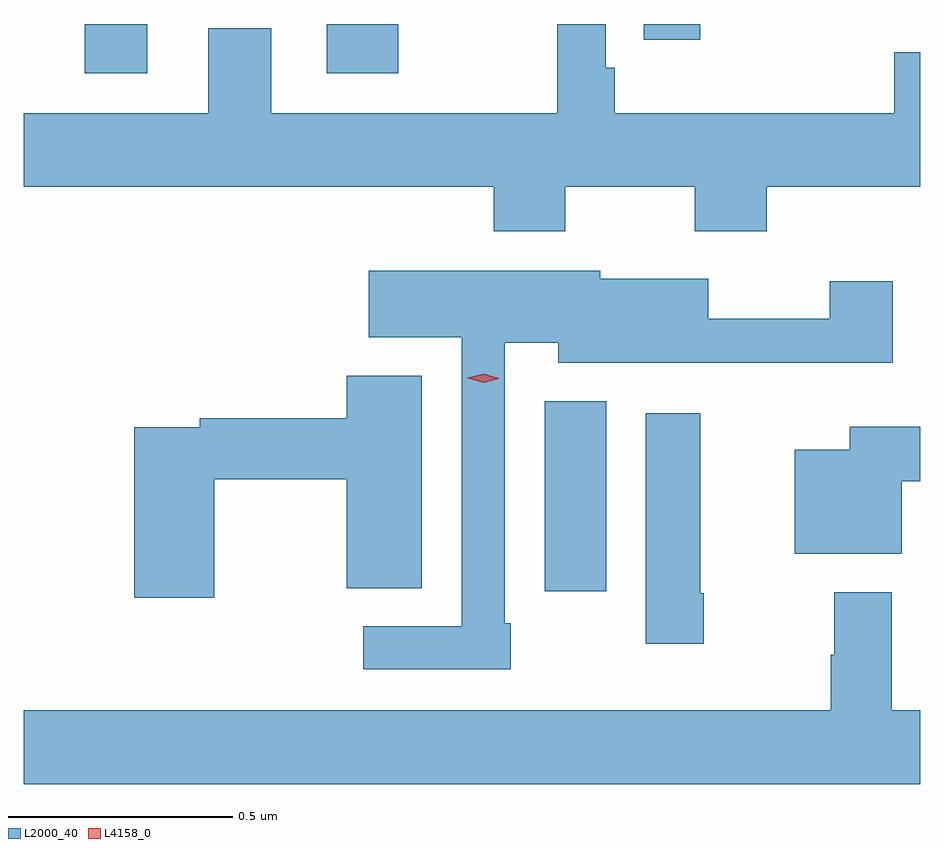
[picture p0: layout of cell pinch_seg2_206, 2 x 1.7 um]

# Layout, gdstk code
import gdstk
lib = gdstk.Library(unit=1e-6, precision=1e-09)
def R(c, l, rs):  # rectangles x0, y0, x1, y1
    for r in rs: c.add(gdstk.rectangle(r[:2], r[2:], *l))
def P(c, l, *ps):  # polygons
    for p in ps: c.add(gdstk.Polygon(p, *l))
L2000_40 = (2000, 40)
L4158_0 = (4158, 0)

pinch_seg2_206 = lib.new_cell('pinch_seg2_206')
R(pinch_seg2_206, L2000_40, [(984.317,661.386,984.454,661.81), (983.291,662.541,983.431,662.651), (983.831,662.541,983.991,662.651), (984.538,662.616,984.664,662.651)])
P(pinch_seg2_206, L2000_40, [(984.363,662.288),(984.652,662.288),(984.652,662.189),(984.812,662.189),(984.812,662.288),(985.155,662.288),(985.155,662.588),(985.097,662.588),(985.097,662.452),(984.473,662.452),(984.473,662.553),(984.453,662.553),(984.453,662.651),(984.345,662.651),(984.345,662.452),(983.707,662.452),(983.707,662.642),(983.567,662.642),(983.567,662.452),(983.155,662.452),(983.155,662.288),(984.203,662.288),(984.203,662.189),(984.363,662.189)],
  [(984.241,661.315),(984.228,661.315),(984.228,661.94),(984.347,661.94),(984.347,661.895),(985.093,661.895),(985.093,662.077),(984.953,662.077),(984.953,661.994),(984.682,661.994),(984.682,662.083),(984.441,662.083),(984.441,662.101),(983.925,662.101),(983.925,661.952),(984.132,661.952),(984.132,661.308),(983.913,661.308),(983.913,661.212),(984.241,661.212)],
  [(983.58,661.636),(983.876,661.636),(983.876,661.393),(984.043,661.393),(984.043,661.867),(983.876,661.867),(983.876,661.772),(983.548,661.772),(983.548,661.752),(983.402,661.752),(983.402,661.371),(983.58,661.371)],
  [(984.672,661.381),(984.664,661.381),(984.664,661.783),(984.542,661.783),(984.542,661.269),(984.672,661.269)],
  [(985.114,661.631),(985.155,661.631),(985.155,661.753),(984.998,661.753),(984.998,661.702),(984.875,661.702),(984.875,661.469),(985.114,661.469)],
  [(985.155,661.12),(985.091,661.12),(985.091,661.384),(984.963,661.384),(984.963,661.244),(984.955,661.244),(984.955,661.12),(983.155,661.12),(983.155,660.956),(985.155,660.956)])
P(pinch_seg2_206, L4158_0, [(984.181,661.851),(984.146,661.861),(984.146,661.862),(984.146,661.862),(984.181,661.871),(984.215,661.861),(984.215,661.861),(984.215,661.86)])

lib.write_gds('pinch_seg2_206.gds')
